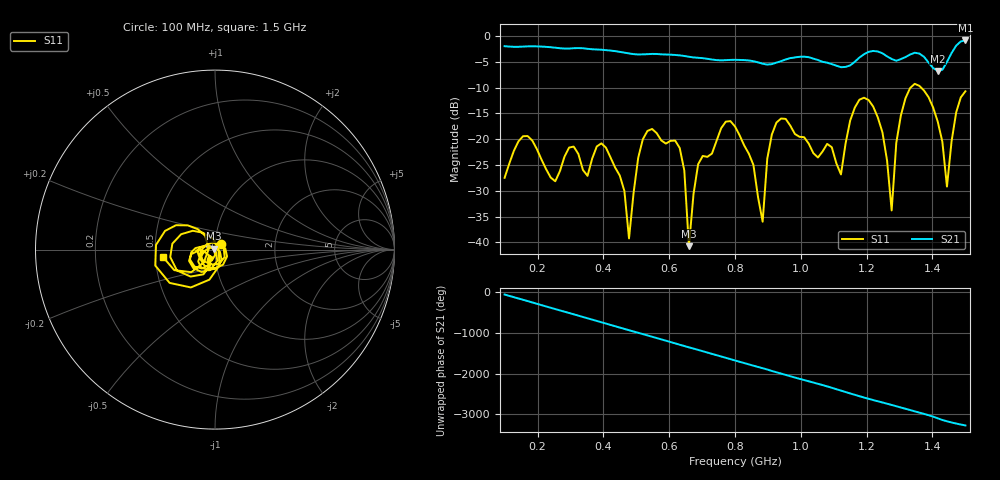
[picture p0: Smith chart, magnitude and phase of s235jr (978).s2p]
! NanoVNA-App
! Date: 2025-09-25 15:11:47
! Start: 100MHz Stop: 1,5GHz Points: 101
! S-Parameter data: F S11 S21 S12 S22
# Hz S RI R 50
!  Frequency  S11_Real  S11_Imag  S21_Real  S21_Imag  S12_Real  S12_Imag  S22_Real  S22_Imag
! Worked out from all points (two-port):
!   101 points, 100 MHz to 1.5 GHz, reference 50 ohm
!   highest |S21| = -0.85 dB at 1.5 GHz (marker M1); lowest = -6.8 dB at 1.416 GHz (marker M2)
!   |S21| within 3 dB of the highest: start of sweep to 644.4 MHz; 1.185 GHz to 1.26 GHz (75.18 MHz wide, 6.15 % of centre) (the widest 2 of 4)
!   lowest |S11| = -40.7 dB at 660 MHz (marker M3), VSWR 1.02, Z = 49.3 + j0.532 ohm
!   |S11| at or under -10 dB: start of sweep to 1.333 GHz; 1.366 GHz to end of sweep
!   S12 and S22 are empty: the file has one direction only
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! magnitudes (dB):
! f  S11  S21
! 100 MHz  -27.5  -2.0
! 156 MHz  -19.4  -2.0
! 338 MHz  -26.0  -2.4
! 408 MHz  -21.6  -2.7
! 478 MHz  -39.2  -3.4
! 520 MHz  -20.0  -3.5
! 576 MHz  -20.2  -3.5
! 632 MHz  -21.7  -3.7
! 660 MHz  -40.7  -4.0
! 688 MHz  -24.8  -4.2
! 800 MHz  -17.5  -4.6
! 884 MHz  -36.0  -5.4
! 926 MHz  -16.8  -5.1
! 1.038 GHz  -22.7  -4.4
! 1.122 GHz  -26.8  -6.0
! 1.206 GHz  -12.4  -3.1
! 1.276 GHz  -33.8  -4.4
! 1.29 GHz  -20.7  -4.8
! 1.332 GHz  -10.1  -3.6
! 1.416 GHz  -16.6  -6.8
! 1.444 GHz  -29.2  -5.0
! 1.5 GHz  -10.7  -0.9
